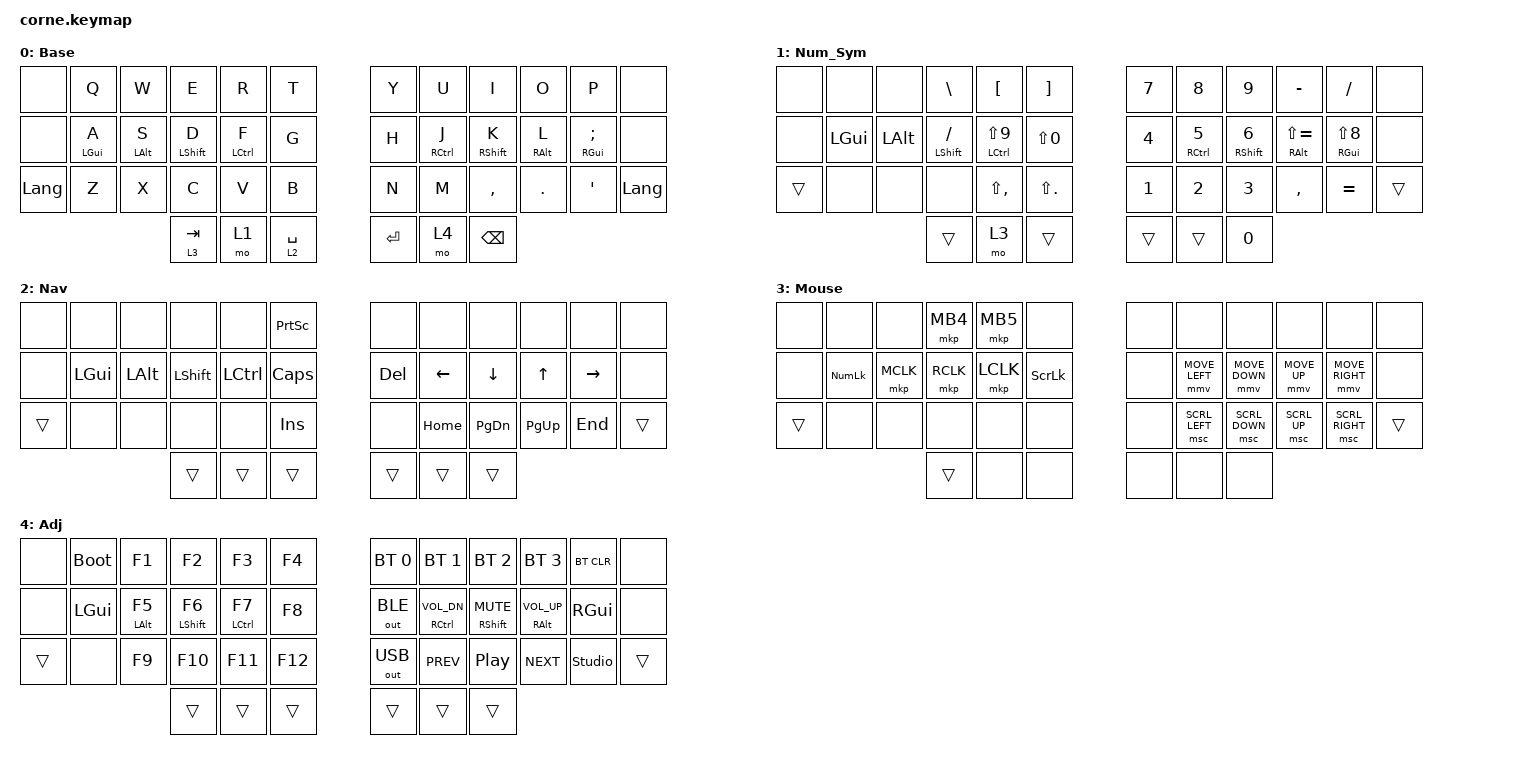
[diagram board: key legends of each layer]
/*
 * Copyright (c) 2020 The ZMK Contributors
 *
 * SPDX-License-Identifier: MIT
 */

#include <behaviors.dtsi>
#include <dt-bindings/zmk/bt.h>
#include <dt-bindings/zmk/keys.h>
#include <dt-bindings/zmk/outputs.h>
#include <dt-bindings/zmk/pointing.h>

/ {
    combos {
        compatible = "zmk,combos";

        com_1 {
            bindings = <&kp LEFT_BRACKET>;
            key-positions = <7 8>;
        };

        com_2 {
            bindings = <&kp RIGHT_BRACKET>;
            key-positions = <9 8>;
        };

        Comma_ru {
            bindings = <&kp LS(SLASH)>;
            key-positions = <32 33>;
        };

        Dot_ru {
            bindings = <&kp SLASH>;
            key-positions = <33 34>;
        };

        Esc {
            bindings = <&kp ESC>;
            key-positions = <1 2>;
        };
    };

    behaviors {
        ss_hs_modmorph: ss_hs_modmorph {
            compatible = "zmk,behavior-mod-morph";
            label = "SS_HS_MODMORPH";
            bindings = <&kp M>, <&kp RIGHT_BRACKET>;

            #binding-cells = <0>;
            mods = <(MOD_LSFT|MOD_RSFT)>;
        };

        kh_hs_tapdance: kh_hs_tapdance {
            compatible = "zmk,behavior-tap-dance";
            label = "KH_HS_TAPDANCE";
            #binding-cells = <0>;
            tapping-term-ms = <200>;
            bindings = <&kp LEFT_BRACKET>, <&kp RIGHT_BRACKET>;
        };

        hrm: hrm {
            compatible = "zmk,behavior-hold-tap";
            #binding-cells = <2>;
            flavor = "balanced";
            tapping-term-ms = <250>;
            quick-tap-ms = <200>;
            require-prior-idle-ms = <125>;
            bindings = <&kp>, <&kp>;
        };
    };

    macros {
        Lang: Lang {
            compatible = "zmk,behavior-macro";
            #binding-cells = <0>;
            bindings =
                <&macro_press>,
                <&kp LEFT_GUI>,
                <&macro_tap>,
                <&kp SPACE>,
                <&macro_release>,
                <&kp LEFT_GUI>;

            label = "LANG";
        };
    };

    keymap {
        compatible = "zmk,keymap";

        Base {
            // -----------------------------------------------------------------------------------------
            // |  TAB |  Q  |  W  |  E  |  R  |  T  |   |  Y  |  U   |  I  |  O  |  P  | BKSP |
            // | CTRL |  A  |  S  |  D  |  F  |  G  |   |  H  |  J   |  K  |  L  |  ;  |  '   |
            // | SHFT |  Z  |  X  |  C  |  V  |  B  |   |  N  |  M   |  ,  |  .  |  /  | ESC  |
            //                    | GUI | LWR | SPC |   | ENT | RSE  | ALT |

            bindings = <
&none  &kp Q        &kp W        &kp E          &kp R         &kp T          &kp Y      &kp U         &kp I          &kp O        &kp P                &none
&none  &hrm LGUI A  &hrm LALT S  &hrm LSHIFT D  &hrm LCTRL F  &kp G          &kp H      &hrm RCTRL J  &hrm RSHFT K   &hrm RALT L  &hrm RGUI SEMICOLON  &none
&Lang  &kp Z        &kp X        &kp C          &kp V         &kp B          &kp N      &kp M         &kp COMMA      &kp DOT      &kp SQT              &Lang
                                 &lt 3 TAB      &mo 1         &lt 2 SPACE    &kp ENTER  &mo 4         &kp BACKSPACE
            >;
        };

        Num_Sym {
            bindings = <
&none   &none     &none     &kp BSLH          &kp LBKT           &kp RBKT          &kp N7  &kp N8         &kp N9          &kp MINUS            &kp FSLH          &none
&none   &kp LGUI  &kp LALT  &hrm LSHIFT FSLH  &hrm LCTRL LS(N9)  &kp LS(N0)        &kp N4  &hrm RCTRL N5  &hrm RSHIFT N6  &hrm RALT LS(EQUAL)  &hrm RGUI LS(N8)  &none
&trans  &none     &none     &none             &kp LS(COMMA)      &kp LS(PERIOD)    &kp N1  &kp N2         &kp N3          &kp COMMA            &kp EQUAL         &trans
                            &trans            &mo 3              &trans            &trans  &trans         &kp N0
            >;
        };

        Nav {
            bindings = <
&none   &none         &none         &none           &none             &kp PRINTSCREEN    &none       &none     &none          &none        &none      &none
&none   &kp LEFT_GUI  &kp LEFT_ALT  &kp LEFT_SHIFT  &kp LEFT_CONTROL  &kp CAPSLOCK       &kp DELETE  &kp LEFT  &kp DOWN       &kp UP       &kp RIGHT  &none
&trans  &none         &none         &none           &none             &kp INSERT         &none       &kp HOME  &kp PAGE_DOWN  &kp PAGE_UP  &kp END    &trans
                                    &trans          &trans            &trans             &trans      &trans    &trans
            >;
        };

        Mouse {
            bindings = <
&none   &none           &none      &mkp MB4   &mkp MB5   &none             &none  &none           &none           &none         &none            &none
&none   &kp KP_NUMLOCK  &mkp MCLK  &mkp RCLK  &mkp LCLK  &kp SCROLLLOCK    &none  &mmv MOVE_LEFT  &mmv MOVE_DOWN  &mmv MOVE_UP  &mmv MOVE_RIGHT  &none
&trans  &none           &none      &none      &none      &none             &none  &msc SCRL_LEFT  &msc SCRL_DOWN  &msc SCRL_UP  &msc SCRL_RIGHT  &trans
                                   &trans     &none      &none             &none  &none           &none
            >;
        };

        Adj {
            bindings = <
&none   &bootloader  &kp F1        &kp F2         &kp F3         &kp F4     &bt BT_SEL 0  &bt BT_SEL 1         &bt BT_SEL 2       &bt BT_SEL 3        &bt BT_CLR      &none
&none   &kp LGUI     &hrm LALT F5  &hrm LSHFT F6  &hrm LCTRL F7  &kp F8     &out OUT_BLE  &hrm RCTRL C_VOL_DN  &hrm RSHFT C_MUTE  &hrm RALT C_VOL_UP  &kp RGUI        &none
&trans  &none        &kp F9        &kp F10        &kp F11        &kp F12    &out OUT_USB  &kp C_PREV           &kp C_PP           &kp C_NEXT          &studio_unlock  &trans
                                   &trans         &trans         &trans     &trans        &trans               &trans
            >;
        };
    };
};
